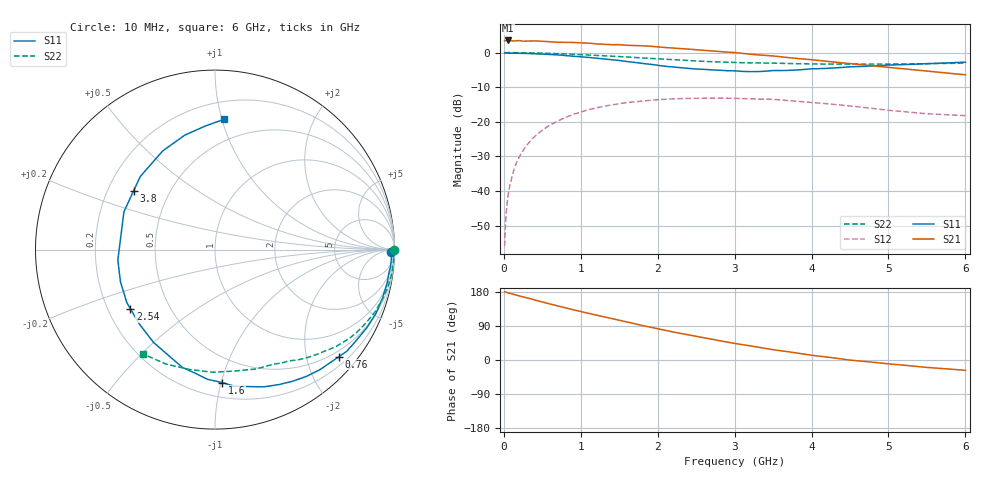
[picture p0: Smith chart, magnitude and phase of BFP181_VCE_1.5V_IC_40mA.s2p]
! Infineon Technologies  Discrete & RF Semiconductors
! BFP181
! VCE = 1.5 V,  IC =  40 mA
! Common Emitter S-Parameters:  Jan 2016
# GHz  S  MA  R  50
!  f  S11  S21  S12  S22
! GHz  MAG  ANG  MAG  ANG  MAG  ANG  MAG  ANG
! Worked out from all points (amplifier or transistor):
!   210 points, 10 MHz to 6 GHz, reference 50 ohm
!   highest |S21| = 3.5 dB at 50 MHz (marker M1)
!   |S21| within 3 dB of that: start of sweep to 2.682 GHz
!   unconditionally stable (mu >= 1): 3.715 GHz to end of sweep
!   at 185 MHz: K = 0.07, MSG = 17.1 dB, |S12| = -30.8 dB
!   at 1.52 GHz: K = 0.47, MSG = 8.5 dB, |S12| = -14.7 dB
!   at 6 GHz: K = 1.54, MAG = 1.6 dB, |S12| = -18.2 dB
!   S11 on the Smith chart (normalised r, x): 10 MHz: 76, -51; 760 MHz: 0.37, -2.64; 1.6 GHz: 0.31, -1.01; 2.54 GHz: 0.29, -0.29; 3.8 GHz: 0.31, +0.30; 6 GHz: 0.33, +1.01
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0.01  0.9821 -0.7  1.481 179.9  0.0016 87.2  0.9998 -0.2
0.02  0.9895 -1.2  1.482 179.7  0.0031 88.7  0.9928 -0.5
0.025  0.9886 -1.4  1.484 179.3  0.0039 89.4  0.9938 -0.7
0.05  0.9844 -2.5  1.495 177.4  0.0079 90.7  0.9989 -1.4
0.09  0.9826 -4.9  1.479 175.2  0.0137 86.5  0.9977 -2.4
0.145  0.9777 -7.9  1.472 172.2  0.0227 84.7  0.9965 -3.9
0.28  0.9719 -15.1  1.46 165.3  0.0431 79.1  0.9937 -7.5
0.5  0.9514 -27.2  1.455 152.9  0.0755 70.4  0.9821 -13.3
0.76  0.9126 -40.8  1.406 139.8  0.1103 60.2  0.961 -19.9
1.02  0.8673 -55.0  1.377 127.0  0.1405 50.6  0.9331 -26.3
1.3  0.8117 -70.4  1.319 114.0  0.1677 40.9  0.9012 -32.7
1.6  0.742 -86.9  1.274 100.3  0.1895 31.9  0.8646 -38.6
1.8  0.6968 -99.3  1.255 90.8  0.1995 26.0  0.835 -42.4
2.02  0.6497 -112.2  1.203 81.6  0.2094 19.8  0.8104 -46.4
2.54  0.5753 -145.0  1.089 61.0  0.2185 6.6  0.7515 -55.3
3.1  0.5345 -179.6  0.972 40.7  0.2161 -6.0  0.7133 -64.4
3.5  0.5494 157.4  0.893 27.1  0.2112 -13.6  0.7035 -70.9
3.8  0.5595 144.1  0.824 18.8  0.1987 -18.0  0.6906 -76.6
4.1  0.5856 132.0  0.767 10.2  0.1867 -22.4  0.6835 -82.6
4.5  0.622 118.0  0.694 -0.3  0.1697 -27.1  0.6834 -91.1
5.1  0.6641 102.6  0.597 -11.9  0.1433 -28.5  0.6829 -104.3
6  0.7272 86.1  0.477 -27.3  0.1227 -21.4  0.7059 -124.5
